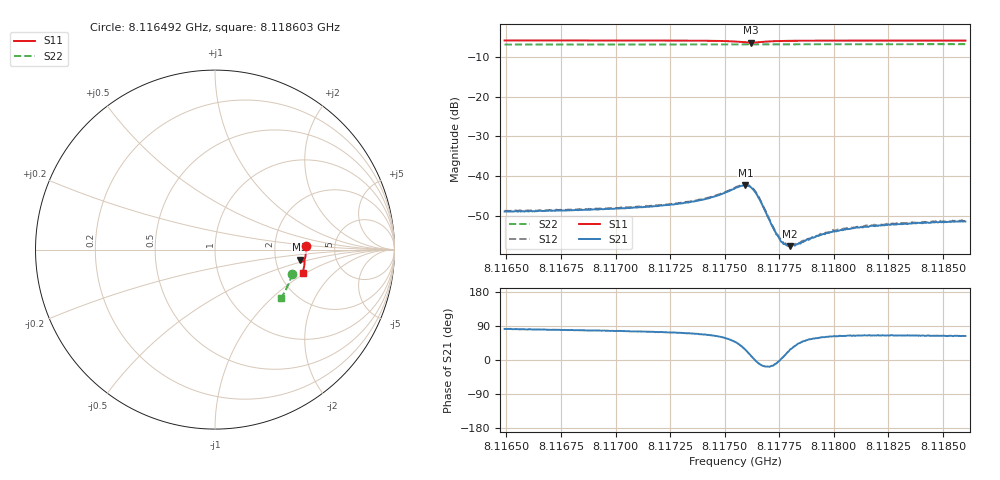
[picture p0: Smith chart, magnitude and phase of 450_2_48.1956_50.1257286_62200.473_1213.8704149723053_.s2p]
#  HZ  S  RI  R  50.00
! Rohde & Schwarz Vector Network Analyzer
! Rohde-Schwarz,ZNB20-2Port,1311601062101988,3.16
! Created: UTC 3/20/2024, 11:56:12 AM
! freq[Hz]  re:S11  im:S11  re:S21  im:S21  re:S12  im:S12  re:S22  im:S22
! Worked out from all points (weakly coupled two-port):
!   401 points, 8.116492 GHz to 8.118603 GHz, reference 50 ohm
!   highest |S21| = -42.25 dB at 8.117595 GHz (marker M1); lowest = -57.6 dB at 8.117801 GHz (marker M2)
!   lowest |S11| = -6.4 dB at 8.117621 GHz (marker M3), VSWR 2.82, Z = 138 - j19.9 ohm
!   |S11| at or under -10 dB: nowhere
!   |S22| runs from -6.9 to -6.8 dB; largest |S21 - S12| = 0.00019
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8.1164915e9  0.5067 0.0222  0.000499 0.00357  0.000596 0.00363  0.4295 -0.1344
8.1168452e9  0.5066 -0.00484  0.000754 0.0037  0.000822 0.00378  0.4225 -0.158
8.1171989e9  0.5044 -0.0329  0.0012 0.00406  0.00123 0.0042  0.4142 -0.1813
8.1172939e9  0.5033 -0.0412  0.00141 0.00431  0.00146 0.00435  0.4115 -0.1873
8.1173995e9  0.5007 -0.0513  0.00194 0.0047  0.00199 0.00478  0.4086 -0.1943
8.1174681e9  0.4973 -0.0586  0.00265 0.00509  0.00273 0.00516  0.4065 -0.1988
8.1175473e9  0.4874 -0.0666  0.00476 0.00522  0.00485 0.00529  0.4039 -0.2038
8.1175948e9  0.4761 -0.0637  0.00687 0.00354  0.00703 0.00353  0.4021 -0.2064
8.1176212e9  0.4733 -0.0558  0.00711 0.00132  0.00727 0.0013  0.4013 -0.2076
8.1176371e9  0.4751 -0.0507  0.00649 7.08e-05  0.00664 3.72e-05  0.4009 -0.2084
8.1176529e9  0.479 -0.0475  0.0055 -0.000715  0.00567 -0.000785  0.4008 -0.2093
8.1177215e9  0.4935 -0.051  0.00219 -0.000595  0.00225 -0.00061  0.3994 -0.2136
8.1177479e9  0.4961 -0.0546  0.0017 -9.94e-05  0.00175 -0.00013  0.3986 -0.2154
8.1177638e9  0.4971 -0.0568  0.00148 0.000141  0.00154 0.000124  0.3982 -0.2165
8.1177796e9  0.4979 -0.0588  0.00134 0.000363  0.00141 0.000316  0.3978 -0.2175
8.1178007e9  0.4982 -0.0614  0.00116 0.000631  0.00122 0.000612  0.3972 -0.2189
8.1178271e9  0.4987 -0.0644  0.00108 0.00087  0.00112 0.00087  0.3963 -0.2206
8.117901e9  0.499 -0.0722  0.000966 0.00141  0.00098 0.0014  0.394 -0.2254
8.1179749e9  0.4985 -0.079  0.000934 0.0017  0.000933 0.00176  0.3916 -0.23
8.1180488e9  0.4977 -0.0853  0.000949 0.00192  0.000999 0.00196  0.3891 -0.2347
8.1182547e9  0.4949 -0.1018  0.00106 0.00223  0.0011 0.00227  0.3819 -0.2471
8.1186031e9  0.4887 -0.1279  0.00121 0.00241  0.00124 0.00245  0.3689 -0.268
